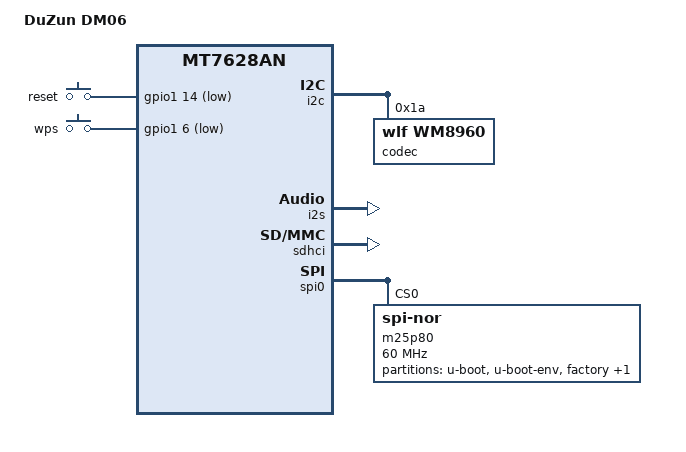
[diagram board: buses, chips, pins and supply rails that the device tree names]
/dts-v1/;

#include "mt7628an.dtsi"

#include <dt-bindings/gpio/gpio.h>
#include <dt-bindings/input/input.h>

/ {
	compatible = "duzun,dm06", "mediatek,mt7628an-soc";
	model = "DuZun DM06";

	keys {
		compatible = "gpio-keys";

		reset {
			label = "reset";
			gpios = <&gpio1 14 GPIO_ACTIVE_LOW>;
			linux,code = <KEY_RESTART>;
		};

		wps {
			label = "wps";
			gpios = <&gpio1 6 GPIO_ACTIVE_LOW>;
			linux,code = <KEY_WPS_BUTTON>;
		};
	};

	sound {
		compatible = "simple-audio-card";
		simple-audio-card,name = "Audio-I2S";
		simple-audio-card,format = "i2s";
		simple-audio-card,bitclock-master = <&dailink0_master>;
		simple-audio-card,frame-master = <&dailink0_master>;
		simple-audio-card,widgets =
			"Headphone", "Headphones";
		simple-audio-card,routing =
			"Headphones", "HP_L",
			"Headphones", "HP_R";
		simple-audio-card,mclk-fs = <256>;

		simple-audio-card,cpu {
			sound-dai = <&i2s>;
		};

		dailink0_master: simple-audio-card,codec {
			sound-dai = <&codec>;
		};
	};
};

&state_default {
	gpio {
		ralink,group = "wdt", "uart1";
		ralink,function = "gpio";
	};
};

&gpio1 {
	status = "okay";
};

&i2c {
	status = "okay";

	codec: wm8960@1a {
		#sound-dai-cells = <0>;
		compatible = "wlf,wm8960";
		reg = <0x1a>;

		wlf,shared-lrclk;
	};
};

&ethernet {
	mtd-mac-address = <&factory 0x4>;
};

&esw {
	mediatek,portmap = <0x3>;
	mediatek,portdisable = <0x3c>;
};

&i2s {
	#sound-dai-cells = <0>;
	status = "okay";
	pinctrl-names = "default";
	pinctrl-0 = <&i2s_pins>, <&refclk_pins>;
};

&sdhci {
	status = "okay";
};

&gdma {
	status = "okay";
};

&spi0 {
	status = "okay";

	m25p80@0 {
		compatible = "jedec,spi-nor";
		reg = <0>;
		spi-max-frequency = <60000000>;
		m25p,fast-read;

		partitions {
			compatible = "fixed-partitions";
			#address-cells = <1>;
			#size-cells = <1>;

			partition@0 {
				label = "u-boot";
				reg = <0x0 0x30000>;
				read-only;
			};

			partition@30000 {
				label = "u-boot-env";
				reg = <0x30000 0x10000>;
				read-only;
			};

			factory: partition@40000 {
				label = "factory";
				reg = <0x40000 0x10000>;
				read-only;
			};

			partition@50000 {
				compatible = "denx,uimage";
				label = "firmware";
				reg = <0x50000 0x7b0000>;
			};
		};
	};
};
